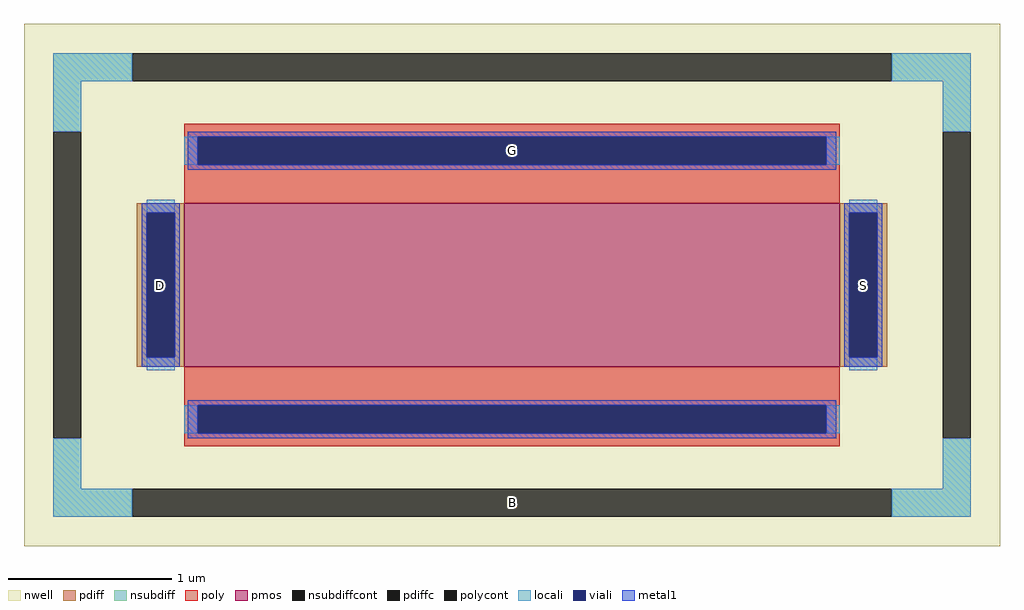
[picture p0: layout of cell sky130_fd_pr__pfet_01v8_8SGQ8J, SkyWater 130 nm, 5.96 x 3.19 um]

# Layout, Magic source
magic
tech sky130A
magscale 1 2
<< nwell >>
rect -596 -319 596 319
<< pmos >>
rect -400 -100 400 100
<< pdiff >>
rect -458 88 -400 100
rect -458 -88 -446 88
rect -412 -88 -400 88
rect -458 -100 -400 -88
rect 400 88 458 100
rect 400 -88 412 88
rect 446 -88 458 88
rect 400 -100 458 -88
<< pdiffc >>
rect -446 -88 -412 88
rect 412 -88 446 88
<< nsubdiff >>
rect -560 249 -464 283
rect 464 249 560 283
rect -560 187 -526 249
rect 526 187 560 249
rect -560 -249 -526 -187
rect 526 -249 560 -187
rect -560 -283 -464 -249
rect 464 -283 560 -249
<< nsubdiffcont >>
rect -464 249 464 283
rect -560 -187 -526 187
rect 526 -187 560 187
rect -464 -283 464 -249
<< poly >>
rect -400 181 400 197
rect -400 147 -384 181
rect 384 147 400 181
rect -400 100 400 147
rect -400 -147 400 -100
rect -400 -181 -384 -147
rect 384 -181 400 -147
rect -400 -197 400 -181
<< polycont >>
rect -384 147 384 181
rect -384 -181 384 -147
<< locali >>
rect -560 249 -464 283
rect 464 249 560 283
rect -560 187 -526 249
rect 526 187 560 249
rect -400 147 -384 181
rect 384 147 400 181
rect -446 88 -412 104
rect -446 -104 -412 -88
rect 412 88 446 104
rect 412 -104 446 -88
rect -400 -181 -384 -147
rect 384 -181 400 -147
rect -560 -249 -526 -187
rect 526 -249 560 -187
rect -560 -283 -464 -249
rect 464 -283 560 -249
<< viali >>
rect -384 147 384 181
rect -446 -88 -412 88
rect 412 -88 446 88
rect -384 -181 384 -147
<< metal1 >>
rect -396 181 396 187
rect -396 147 -384 181
rect 384 147 396 181
rect -396 141 396 147
rect -452 88 -406 100
rect -452 -88 -446 88
rect -412 -88 -406 88
rect -452 -100 -406 -88
rect 406 88 452 100
rect 406 -88 412 88
rect 446 -88 452 88
rect 406 -100 452 -88
rect -396 -147 396 -141
rect -396 -181 -384 -147
rect 384 -181 396 -147
rect -396 -187 396 -181
<< labels >>
rlabel nsubdiffcont 0 -266 0 -266 0 B
port 41 nsew
rlabel pdiffc -429 0 -429 0 0 D
port 42 nsew
rlabel pdiffc 429 0 429 0 0 S
port 43 nsew
rlabel polycont 0 164 0 164 0 G
port 44 nsew
<< properties >>
string FIXED_BBOX -543 -266 543 266
string gencell sky130_fd_pr__pfet_01v8
string library sky130
string parameters w 1.0 l 4.0 m 1 nf 1 diffcov 100 polycov 100 guard 1 glc 1 grc 1 gtc 1 gbc 1 tbcov 100 rlcov 100 topc 1 botc 1 poverlap 0 doverlap 1 lmin 0.15 wmin 0.42 class mosfet compatible {sky130_fd_pr__pfet_01v8  sky130_fd_pr__pfet_01v8_lvt sky130_fd_pr__pfet_01v8_hvt  sky130_fd_pr__pfet_g5v0d10v5} full_metal 1 conn_gates 0 viasrc 100 viadrn 100 viagate 100 viagb 0 viagr 0 viagl 0 viagt 0 doports 1
<< end >>
